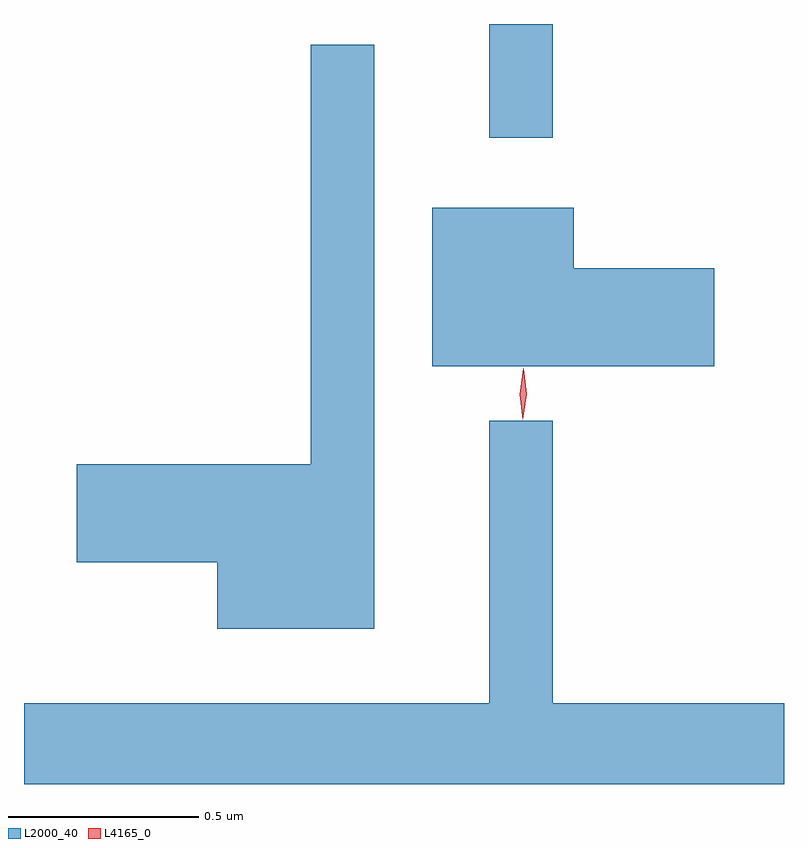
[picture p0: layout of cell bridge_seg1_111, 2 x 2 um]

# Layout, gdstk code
import gdstk
lib = gdstk.Library(unit=1e-6, precision=1e-09)
def R(c, l, rs):  # rectangles x0, y0, x1, y1
    for r in rs: c.add(gdstk.rectangle(r[:2], r[2:], *l))
def P(c, l, *ps):  # polygons
    for p in ps: c.add(gdstk.Polygon(p, *l))
L2000_40 = (2000, 40)
L4165_0 = (4165, 0)

bridge_seg1_111 = lib.new_cell('bridge_seg1_111')
R(bridge_seg1_111, L2000_40, [(1426.281,881.353,1426.449,881.652)])
P(bridge_seg1_111, L2000_40, [(1425.979,881.598),(1425.811,881.598),(1425.811,880.494),(1425.196,880.494),(1425.196,880.236),(1425.566,880.236),(1425.566,880.061),(1425.979,880.061)],
  [(1426.874,881.009),(1426.504,881.009),(1426.504,881.169),(1426.131,881.169),(1426.131,880.751),(1426.874,880.751)],
  [(1427.057,879.864),(1426.449,879.864),(1426.449,880.608),(1426.281,880.608),(1426.281,879.864),(1425.057,879.864),(1425.057,879.652),(1427.057,879.652)])
P(bridge_seg1_111, L4165_0, [(1426.369,880.61),(1426.361,880.678),(1426.371,880.745),(1426.371,880.746),(1426.372,880.745),(1426.38,880.678),(1426.37,880.61),(1426.37,880.61)],
  [(1426.37,880.613),(1426.369,880.614),(1426.361,880.676),(1426.371,880.739),(1426.371,880.74),(1426.372,880.739),(1426.38,880.676),(1426.37,880.614)])

lib.write_gds('bridge_seg1_111.gds')
